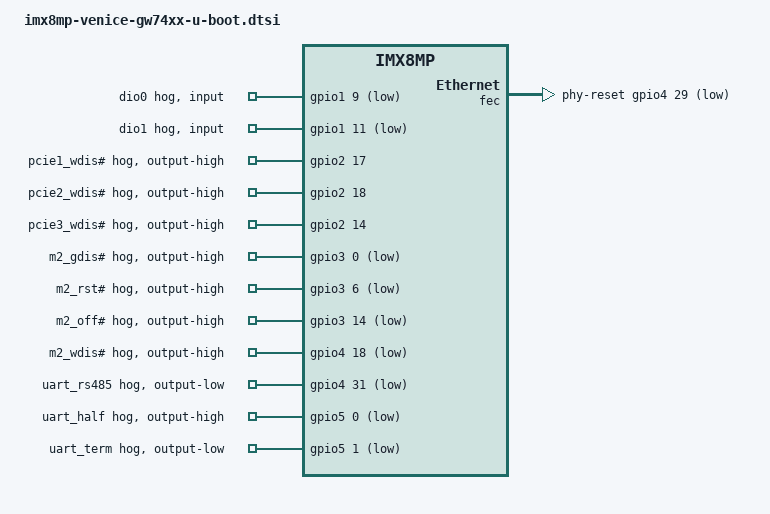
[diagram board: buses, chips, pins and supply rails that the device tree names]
// SPDX-License-Identifier: (GPL-2.0+ OR MIT)
/*
 * Copyright 2022 Gateworks Corporation
 */

#include "imx8mp-u-boot.dtsi"

/ {
	firmware {
		optee {
			compatible = "linaro,optee-tz";
			method = "smc";
		};
	};

	wdt-reboot {
		compatible = "wdt-reboot";
		u-boot,dm-spl;
		wdt = <&wdog1>;
	};
};

&eqos {
	/delete-property/ assigned-clocks;
	/delete-property/ assigned-clock-parents;
	/delete-property/ assigned-clock-rates;
};

&ethphy0 {
	reset-gpios = <&gpio4 30 GPIO_ACTIVE_LOW>;
	reset-delay-us = <1000>;
	reset-post-delay-us = <300000>;
};

&fec {
	phy-reset-gpios = <&gpio4 29 GPIO_ACTIVE_LOW>;
	phy-reset-duration = <15>;
	phy-reset-post-delay = <100>;
};

&gpio1 {
	u-boot,dm-spl;

	dio0_hog {
		gpio-hog;
		input;
		gpios = <9 GPIO_ACTIVE_LOW>;
		line-name = "dio0";
	};

	dio1_hog {
		gpio-hog;
		input;
		gpios = <11 GPIO_ACTIVE_LOW>;
		line-name = "dio1";
	};
};

&gpio2 {
	u-boot,dm-spl;

	pcie1_wdis_hog {
		gpio-hog;
		gpios = <17 GPIO_ACTIVE_HIGH>;
		output-high;
		line-name = "pcie1_wdis#";
	};

	pcie2_wdis_hog {
		gpio-hog;
		gpios = <18 GPIO_ACTIVE_HIGH>;
		output-high;
		line-name = "pcie2_wdis#";
	};

	pcie3_wdis_hog {
		gpio-hog;
		gpios = <14 GPIO_ACTIVE_HIGH>;
		output-high;
		line-name = "pcie3_wdis#";
	};
};

&gpio3 {
	u-boot,dm-spl;

	m2_dis2_hog {
		gpio-hog;
		gpios = <0 GPIO_ACTIVE_LOW>;
		output-high;
		line-name = "m2_gdis#";
	};

	m2rst_hog {
		gpio-hog;
		gpios = <6 GPIO_ACTIVE_LOW>;
		output-high;
		line-name = "m2_rst#";
	};

	m2_off_hog {
		gpio-hog;
		gpios = <14 GPIO_ACTIVE_LOW>;
		output-high;
		line-name = "m2_off#";
	};
};

&gpio4 {
	u-boot,dm-spl;

	m2_dis1_hog {
		gpio-hog;
		gpios = <18 GPIO_ACTIVE_LOW>;
		output-high;
		line-name = "m2_wdis#";
	};

	uart_rs485_hog {
		gpio-hog;
		gpios = <31 GPIO_ACTIVE_LOW>;
		output-low;
		line-name = "uart_rs485";
	};
};

&gpio5 {
	u-boot,dm-spl;

	uart_half_hog {
		gpio-hog;
		gpios = <0 GPIO_ACTIVE_LOW>;
		output-high;
		line-name = "uart_half";
	};

	uart_term_hog {
		gpio-hog;
		gpios = <1 GPIO_ACTIVE_LOW>;
		output-low;
		line-name = "uart_term";
	};
};

&i2c1 {
	u-boot,dm-spl;
};

&i2c2 {
	u-boot,dm-spl;
};

&i2c3 {
	u-boot,dm-spl;
};

&pinctrl_i2c1 {
	u-boot,dm-spl;
};

&pinctrl_wdog {
	u-boot,dm-spl;
};

&usdhc2 {
	assigned-clock-parents = <&clk IMX8MP_SYS_PLL1_400M>;
	assigned-clock-rates = <400000000>;
	assigned-clocks = <&clk IMX8MP_CLK_USDHC2>;
	sd-uhs-ddr50;
	sd-uhs-sdr104;
	u-boot,dm-spl;
};

&usdhc3 {
	assigned-clock-parents = <&clk IMX8MP_SYS_PLL1_400M>;
	assigned-clock-rates = <400000000>;
	assigned-clocks = <&clk IMX8MP_CLK_USDHC3>;
	mmc-hs400-1_8v;
	mmc-hs400-enhanced-strobe;
	u-boot,dm-spl;
};

&wdog1 {
	u-boot,dm-spl;
};
